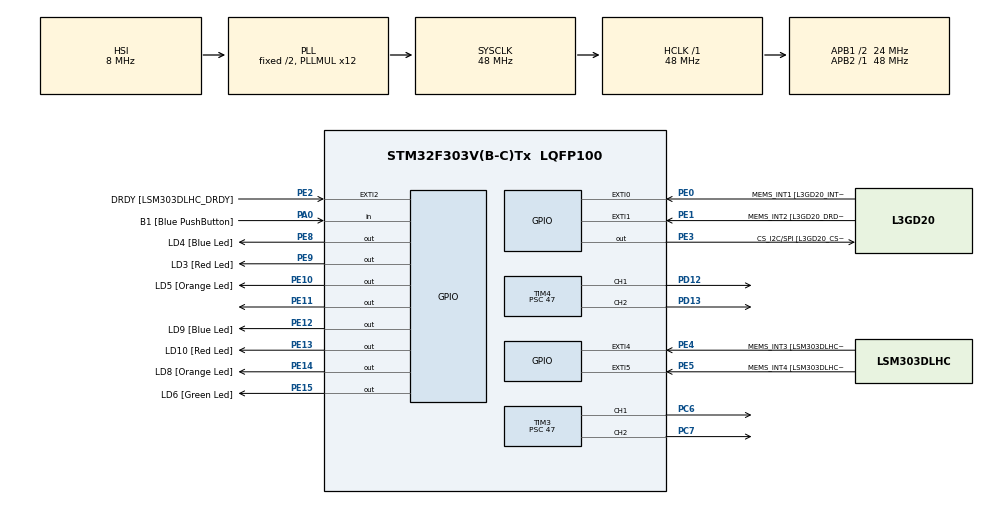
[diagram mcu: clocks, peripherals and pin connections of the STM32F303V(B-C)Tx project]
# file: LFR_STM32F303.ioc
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Mcu.Family=STM32F3
PE12.GPIO_ModeDefaultOutputPP=GPIO_MODE_OUTPUT_PP
VP_SYS_VS_tim6.Mode=TIM6
PE14.GPIO_Speed=GPIO_SPEED_FREQ_LOW
RCC.CortexFreq_Value=48000000
PB6.GPIO_Mode=GPIO_MODE_AF_OD
NVIC.TIM6_DAC_IRQn=true\:0\:0\:false\:false\:true\:false\:true
PA14.GPIO_Label=SWCLK
PE8.GPIO_PuPd=GPIO_NOPULL
RCC.SYSCLKSourceVirtual=RCC_SYSCLKSOURCE_PLLCLK
PB7.GPIO_FM7=__NULL
PA7.GPIO_Mode=GPIO_MODE_AF_PP
PA0.GPIO_Label=B1 [Blue PushButton]
PE9.GPIO_Speed=GPIO_SPEED_FREQ_LOW
PE10.GPIO_PuPd=GPIO_NOPULL
PA6.GPIO_Label=SPI1_MISO [L3GD20_SA0/SDO]
PB6.GPIO_Label=I2C1_SCL [LSM303DLHC_SCL]
PC15-OSC32_OUT.GPIO_Label=OSC32_OUT
ProjectManager.StackSize=0x400
PA6.GPIO_Mode=GPIO_MODE_AF_PP
PD13.Signal=S_TIM4_CH2
PB7.GPIO_Mode=GPIO_MODE_AF_OD
PA12.Signal=USB_DP
PE5.GPIO_PuPd=GPIO_NOPULL
RCC.HCLKFreq_Value=48000000
RCC.APB2TimFreq_Value=48000000
TIM3.Period=999
PB6.Signal=I2C1_SCL
PC7.Signal=S_TIM3_CH2
PE5.Signal=GPXTI5
PE1.Signal=GPXTI1
RCC.AHBFreq_Value=48000000
TIM3.Channel-PWM\ Generation1\ CH1=TIM_CHANNEL_1
RCC.HSE_VALUE=8000000
PF0-OSC_IN.GPIO_Label=OSC_IN
PE13.GPIO_PuPd=GPIO_NOPULL
RCC.PLLMUL=RCC_PLL_MUL12
PA6.GPIO_PuPd=GPIO_NOPULL
PE13.Signal=GPIO_Output
PE9.Signal=GPIO_Output
TIM3.Prescaler=47
PA5.GPIO_PuPd=GPIO_NOPULL
PE4.GPIO_Label=MEMS_INT3 [LSM303DLHC_INT1]
PE10.GPIO_ModeDefaultOutputPP=GPIO_MODE_OUTPUT_PP
SH.S_TIM4_CH2.0=TIM4_CH2,PWM Generation2 CH2
PE2.Signal=GPXTI2
PB7.Signal=I2C1_SDA
SH.S_TIM3_CH1.0=TIM3_CH1,PWM Generation1 CH1
TIM4.Period=999
PE10.GPIO_Speed=GPIO_SPEED_FREQ_LOW
PE10.Signal=GPIO_Output
PE4.Signal=GPXTI4
VP_TIM1_VS_ClockSourceINT.Mode=Internal
PA0.Signal=GPIO_Input
PB7.GPIO_Label=I2C1_SDA [LSM303DLHC_SDA]
Mcu.Package=LQFP100
PA6.Signal=SPI1_MISO
NVIC.TimeBase=TIM6_DAC_IRQn
PD12.Signal=S_TIM4_CH1
PB6.GPIO_FM6=__NULL
PA0.GPIO_PuPd=GPIO_NOPULL
NVIC.TimeBaseIP=TIM6
PE12.GPIO_Label=LD9 [Blue Led]
PE12.GPIO_Speed=GPIO_SPEED_FREQ_LOW
PE0.GPIO_Label=MEMS_INT1 [L3GD20_INT1]
PE8.GPIO_Speed=GPIO_SPEED_FREQ_LOW
SH.S_TIM4_CH1.0=TIM4_CH1,PWM Generation1 CH1
RCC.APB1TimFreq_Value=48000000
PE8.GPIO_ModeDefaultOutputPP=GPIO_MODE_OUTPUT_PP
PC14-OSC32_IN.GPIO_Label=OSC32_IN
PA6.GPIO_Speed=GPIO_SPEED_FREQ_LOW
PE10.GPIO_Label=LD5 [Orange Led]
PE2.GPIO_Label=DRDY [LSM303DLHC_DRDY]
PF1-OSC_OUT.Signal=RCC_OSC_OUT
PE12.GPIO_PuPd=GPIO_NOPULL
PB7.GPIO_Speed=GPIO_SPEED_FREQ_LOW
PE14.GPIO_ModeDefaultOutputPP=GPIO_MODE_OUTPUT_PP
PB3.GPIO_Label=SWO
PE0.GPIO_PuPd=GPIO_NOPULL
PB7.GPIO_PuPd=GPIO_NOPULL
TIM4.Channel-PWM\ Generation1\ CH1=TIM_CHANNEL_1
PB6.GPIO_PuPd=GPIO_NOPULL
PC6.Signal=S_TIM3_CH1
PE4.GPIO_ModeDefaultEXTI=GPIO_MODE_EVT_RISING
PA0.GPIO_Mode=GPIO_MODE_INPUT
PA11.GPIO_Label=DM
PE14.GPIO_Label=LD8 [Orange Led]
PE1.GPIO_PuPd=GPIO_NOPULL
PE1.GPIO_ModeDefaultEXTI=GPIO_MODE_EVT_RISING
RCC.APB1CLKDivider=RCC_HCLK_DIV2
PC14-OSC32_IN.Signal=RCC_OSC32_IN
PA12.GPIO_Label=DP
PA13.Signal=SYS_JTMS-SWDIO
PE15.GPIO_Label=LD6 [Green Led]
ProjectManager.TargetToolchain=STM32CubeIDE
PE5.GPIO_ModeDefaultEXTI=GPIO_MODE_EVT_RISING
PE8.GPIO_Label=LD4 [Blue Led]
PE0.GPIO_ModeDefaultEXTI=GPIO_MODE_EVT_RISING
RCC.USBFreq_Value=48000000
TIM4.Prescaler=47
PE11.Signal=GPIO_Output
RCC.LSE_VALUE=32768
PC15-OSC32_OUT.Signal=RCC_OSC32_OUT
PE9.GPIO_Label=LD3 [Red Led]
PA7.GPIO_PuPd=GPIO_NOPULL
PE2.GPIO_PuPd=GPIO_NOPULL
PA5.Signal=SPI1_SCK
SH.S_TIM3_CH2.0=TIM3_CH2,PWM Generation2 CH2
board=STM32F3DISCOVERY
PE1.GPIO_Label=MEMS_INT2 [L3GD20_DRDY/INT2]
PA7.GPIO_Speed=GPIO_SPEED_FREQ_LOW
TIM4.Channel-PWM\ Generation2\ CH2=TIM_CHANNEL_2
RCC.APB2Freq_Value=48000000
PE14.Signal=GPIO_Output
PE15.Signal=GPIO_Output
PE8.Signal=GPIO_Output
PF1-OSC_OUT.GPIO_Label=OSC_OUT
PE3.GPIO_PuPd=GPIO_NOPULL
PE14.GPIO_PuPd=GPIO_NOPULL
Mcu.Name=STM32F303V(B-C)Tx
PE0.Signal=GPXTI0
PE12.Signal=GPIO_Output
PA13.GPIO_Label=SWDIO
PE4.GPIO_PuPd=GPIO_NOPULL
PB3.Signal=SYS_JTDO-TRACESWO
RCC.SYSCLKFreq_VALUE=48000000
PA7.GPIO_Label=SPI1_MISO [L3GD20_SDA/SDI/SDO]
PE13.GPIO_Label=LD10 [Red Led]
PA5.GPIO_Label=SPI1_SCK [L3GD20_SCL/SPC]
PE3.GPIO_Speed=GPIO_SPEED_FREQ_LOW
PE3.GPIO_ModeDefaultOutputPP=GPIO_MODE_OUTPUT_PP
PE13.GPIO_ModeDefaultOutputPP=GPIO_MODE_OUTPUT_PP
PE5.GPIO_Label=MEMS_INT4 [LSM303DLHC_INT2]
PA11.Signal=USB_DM
PA14.Signal=SYS_JTCK-SWCLK
PE15.GPIO_PuPd=GPIO_NOPULL
ProjectManager.HeapSize=0x200
RCC.HSI_VALUE=8000000
PA5.GPIO_Speed=GPIO_SPEED_FREQ_LOW
NVIC.PriorityGroup=NVIC_PRIORITYGROUP_4
TIM3.Channel-PWM\ Generation2\ CH2=TIM_CHANNEL_2
PE15.GPIO_Speed=GPIO_SPEED_FREQ_LOW
PE13.GPIO_Speed=GPIO_SPEED_FREQ_LOW
PE3.Signal=GPIO_Output
PE3.GPIO_Label=CS_I2C/SPI [L3GD20_CS_I2C/SPI]
PE2.GPIO_ModeDefaultEXTI=GPIO_MODE_EVT_RISING
PE9.GPIO_ModeDefaultOutputPP=GPIO_MODE_OUTPUT_PP
PF0-OSC_IN.Signal=RCC_OSC_IN
PB6.GPIO_Speed=GPIO_SPEED_FREQ_LOW
RCC.APB1Freq_Value=24000000
PA5.GPIO_Mode=GPIO_MODE_AF_PP
PE15.GPIO_ModeDefaultOutputPP=GPIO_MODE_OUTPUT_PP
PA7.Signal=SPI1_MOSI
PE9.GPIO_PuPd=GPIO_NOPULL

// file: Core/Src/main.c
/* USER CODE BEGIN Header */
/**
  ******************************************************************************
  * @file           : main.c
  * @brief          : Main program body
  ******************************************************************************
  * @attention
  *
  * <h2><center>&copy; Copyright (c) 2021 STMicroelectronics.
  * All rights reserved.</center></h2>
  *
  * This software component is licensed by ST under BSD 3-Clause license,
  * the "License"; You may not use this file except in compliance with the
  * License. You may obtain a copy of the License at:
  *                        opensource.org/licenses/BSD-3-Clause
  *
  ******************************************************************************
  */
/* USER CODE END Header */
#include "main.h"

/* USER CODE BEGIN Includes */
#include <stdio.h>
#include <math.h>
#include "FreeRTOS.h"
#include "task.h"
/* USER CODE END Includes */

/* USER CODE BEGIN PM */
#define DWT_CTRL		(*(volatile uint32_t*)0xE0001000)
/* USER CODE END PM */

TIM_HandleTypeDef htim1;
TIM_HandleTypeDef htim3;
TIM_HandleTypeDef htim4;

/* USER CODE BEGIN PV */

/*
 * P:							Proportional controller
 * I:							Integral controller
 * D:							Differnetial controller
 * Kp:							Coefficient for P controller
 * Ki:							Coefficient for I controller
 * Kd:							Coefficient for D controller
 * Kl:							Coefficient for left motor
 * Kr:							Coefficient for right motor
 * eroor:						Error from the IR sensors
 * prev_error:					Previous error
 * right_motor_base_speed:		Base speed for right motor when error is 0
 * left_motor_base_speed:		Base speed for left motor when error is 0*/

float Kp = 0.5;//random untested value assigned
float Ki = 0.5;//random untested value assigned
float Kd = 0.5;//random untested value assigned
float Kl = -1;//random untested value assigned
float Kr = 1;//random untested value assigned
float left_motor_base_speed = MAX_PWM_VAL/1.5, right_motor_base_speed = MAX_PWM_VAL/1.5;//random untested value assigned
int P, I, D, error, prev_error = 0;
/* USER CODE END PV */

void SystemClock_Config(void);
static void MX_GPIO_Init(void);
static void MX_TIM1_Init(void);
static void MX_TIM3_Init(void);
static void MX_TIM4_Init(void);
/* USER CODE BEGIN PFP */
static void svIRSensorReadTask(void* parameters); // The task that reads IR sensors
uint8_t ucReadAllIRSensors(); // svIRSensorReadTask will call this func to get the values of every IR sensors
int iExponentialWeightedError(uint8_t sensor_data, int weight); // weights are higher from the center
int iEqualWeightedError(uint8_t sensor_data, int weight); // all weights are equal

static void svMotorRunTask(void* parameters);
void vRunMotor(int left_speed, int right_speed);

int iPID();
/* USER CODE END PFP */

int main(void)
{
  /* USER CODE BEGIN 1 */
  TaskHandle_t IR_sensor_task_handle, motor_run_task_handle;

  BaseType_t status;
  /* USER CODE END 1 */

  /* MCU Configuration--------------------------------------------------------*/

  /* Reset of all peripherals, Initializes the Flash interface and the Systick. */
  HAL_Init();

  /* Configure the system clock */
  SystemClock_Config();

  /* Initialize all configured peripherals */
  MX_GPIO_Init();
  MX_TIM1_Init();
  MX_TIM3_Init();
  MX_TIM4_Init();
  /* USER CODE BEGIN 2 */
  DWT_CTRL |= (1 << 0);

//  SEGGER_SYSVIEW_Conf();
//
//  SEGGER_SYSVIEW_Start();
  HAL_TIM_PWM_Start(&htim1, TIM_CHANNEL_2); // Starting PWM

  status = xTaskCreate(svIRSensorReadTask, "IR_Sensor_Reading_Task", 200, NULL, 4, &IR_sensor_task_handle);

  configASSERT(status == pdPASS);

  status = xTaskCreate(svMotorRunTask, "Motor_Run_Task", 400, NULL, 4, &motor_run_task_handle);

  configASSERT(status == pdPASS);

  vTaskStartScheduler();
  /* USER CODE END 2 */

  /* Infinite loop */
  while (1)
  {

  }
}

void SystemClock_Config(void)
{
  RCC_OscInitTypeDef RCC_OscInitStruct = {0};
  RCC_ClkInitTypeDef RCC_ClkInitStruct = {0};
  RCC_PeriphCLKInitTypeDef PeriphClkInit = {0};

  /** Initializes the RCC Oscillators according to the specified parameters
  * in the RCC_OscInitTypeDef structure.
  */
  RCC_OscInitStruct.OscillatorType = RCC_OSCILLATORTYPE_HSI;
  RCC_OscInitStruct.HSIState = RCC_HSI_ON;
  RCC_OscInitStruct.HSICalibrationValue = RCC_HSICALIBRATION_DEFAULT;
  RCC_OscInitStruct.PLL.PLLState = RCC_PLL_ON;
  RCC_OscInitStruct.PLL.PLLSource = RCC_PLLSOURCE_HSI;
  RCC_OscInitStruct.PLL.PLLMUL = RCC_PLL_MUL12;
  if (HAL_RCC_OscConfig(&RCC_OscInitStruct) != HAL_OK)
  {
    Error_Handler();
  }
  /** Initializes the CPU, AHB and APB buses clocks
  */
  RCC_ClkInitStruct.ClockType = RCC_CLOCKTYPE_HCLK|RCC_CLOCKTYPE_SYSCLK
                              |RCC_CLOCKTYPE_PCLK1|RCC_CLOCKTYPE_PCLK2;
  RCC_ClkInitStruct.SYSCLKSource = RCC_SYSCLKSOURCE_PLLCLK;
  RCC_ClkInitStruct.AHBCLKDivider = RCC_SYSCLK_DIV1;
  RCC_ClkInitStruct.APB1CLKDivider = RCC_HCLK_DIV2;
  RCC_ClkInitStruct.APB2CLKDivider = RCC_HCLK_DIV1;

  if (HAL_RCC_ClockConfig(&RCC_ClkInitStruct, FLASH_LATENCY_1) != HAL_OK)
  {
    Error_Handler();
  }
  PeriphClkInit.PeriphClockSelection = RCC_PERIPHCLK_TIM1;
  PeriphClkInit.Tim1ClockSelection = RCC_TIM1CLK_HCLK;
  if (HAL_RCCEx_PeriphCLKConfig(&PeriphClkInit) != HAL_OK)
  {
    Error_Handler();
  }
}

static void MX_TIM1_Init(void)
{

  TIM_ClockConfigTypeDef sClockSourceConfig = {0};
  TIM_MasterConfigTypeDef sMasterConfig = {0};

  htim1.Instance = TIM1;
  htim1.Init.Prescaler = 0;
  htim1.Init.CounterMode = TIM_COUNTERMODE_UP;
  htim1.Init.Period = 65535;
  htim1.Init.ClockDivision = TIM_CLOCKDIVISION_DIV1;
  htim1.Init.RepetitionCounter = 0;
  htim1.Init.AutoReloadPreload = TIM_AUTORELOAD_PRELOAD_DISABLE;
  if (HAL_TIM_Base_Init(&htim1) != HAL_OK)
  {
    Error_Handler();
  }
  sClockSourceConfig.ClockSource = TIM_CLOCKSOURCE_INTERNAL;
  if (HAL_TIM_ConfigClockSource(&htim1, &sClockSourceConfig) != HAL_OK)
  {
    Error_Handler();
  }
  sMasterConfig.MasterOutputTrigger = TIM_TRGO_RESET;
  sMasterConfig.MasterOutputTrigger2 = TIM_TRGO2_RESET;
  sMasterConfig.MasterSlaveMode = TIM_MASTERSLAVEMODE_DISABLE;
  if (HAL_TIMEx_MasterConfigSynchronization(&htim1, &sMasterConfig) != HAL_OK)
  {
    Error_Handler();
  }

}

static void MX_TIM3_Init(void)
{

  TIM_MasterConfigTypeDef sMasterConfig = {0};
  TIM_OC_InitTypeDef sConfigOC = {0};

  htim3.Instance = TIM3;
  htim3.Init.Prescaler = 47;
  htim3.Init.CounterMode = TIM_COUNTERMODE_UP;
  htim3.Init.Period = 999;
  htim3.Init.ClockDivision = TIM_CLOCKDIVISION_DIV1;
  htim3.Init.AutoReloadPreload = TIM_AUTORELOAD_PRELOAD_DISABLE;
  if (HAL_TIM_PWM_Init(&htim3) != HAL_OK)
  {
    Error_Handler();
  }
  sMasterConfig.MasterOutputTrigger = TIM_TRGO_RESET;
  sMasterConfig.MasterSlaveMode = TIM_MASTERSLAVEMODE_DISABLE;
  if (HAL_TIMEx_MasterConfigSynchronization(&htim3, &sMasterConfig) != HAL_OK)
  {
    Error_Handler();
  }
  sConfigOC.OCMode = TIM_OCMODE_PWM1;
  sConfigOC.Pulse = 0;
  sConfigOC.OCPolarity = TIM_OCPOLARITY_HIGH;
  sConfigOC.OCFastMode = TIM_OCFAST_DISABLE;
  if (HAL_TIM_PWM_ConfigChannel(&htim3, &sConfigOC, TIM_CHANNEL_1) != HAL_OK)
  {
    Error_Handler();
  }
  if (HAL_TIM_PWM_ConfigChannel(&htim3, &sConfigOC, TIM_CHANNEL_2) != HAL_OK)
  {
    Error_Handler();
  }
  HAL_TIM_MspPostInit(&htim3);

}

static void MX_TIM4_Init(void)
{

  TIM_MasterConfigTypeDef sMasterConfig = {0};
  TIM_OC_InitTypeDef sConfigOC = {0};

  htim4.Instance = TIM4;
  htim4.Init.Prescaler = 47;
  htim4.Init.CounterMode = TIM_COUNTERMODE_UP;
  htim4.Init.Period = 999;
  htim4.Init.ClockDivision = TIM_CLOCKDIVISION_DIV1;
  htim4.Init.AutoReloadPreload = TIM_AUTORELOAD_PRELOAD_DISABLE;
  if (HAL_TIM_PWM_Init(&htim4) != HAL_OK)
  {
    Error_Handler();
  }
  sMasterConfig.MasterOutputTrigger = TIM_TRGO_RESET;
  sMasterConfig.MasterSlaveMode = TIM_MASTERSLAVEMODE_DISABLE;
  if (HAL_TIMEx_MasterConfigSynchronization(&htim4, &sMasterConfig) != HAL_OK)
  {
    Error_Handler();
  }
  sConfigOC.OCMode = TIM_OCMODE_PWM1;
  sConfigOC.Pulse = 0;
  sConfigOC.OCPolarity = TIM_OCPOLARITY_HIGH;
  sConfigOC.OCFastMode = TIM_OCFAST_DISABLE;
  if (HAL_TIM_PWM_ConfigChannel(&htim4, &sConfigOC, TIM_CHANNEL_1) != HAL_OK)
  {
    Error_Handler();
  }
  if (HAL_TIM_PWM_ConfigChannel(&htim4, &sConfigOC, TIM_CHANNEL_2) != HAL_OK)
  {
    Error_Handler();
  }
  HAL_TIM_MspPostInit(&htim4);

}

static void MX_GPIO_Init(void)
{
  GPIO_InitTypeDef GPIO_InitStruct = {0};

  /* GPIO Ports Clock Enable */
  __HAL_RCC_GPIOE_CLK_ENABLE();
  __HAL_RCC_GPIOC_CLK_ENABLE();
  __HAL_RCC_GPIOF_CLK_ENABLE();
  __HAL_RCC_GPIOA_CLK_ENABLE();
  __HAL_RCC_GPIOD_CLK_ENABLE();
  __HAL_RCC_GPIOB_CLK_ENABLE();

  /*Configure GPIO pin Output Level */
  HAL_GPIO_WritePin(GPIOE, CS_I2C_SPI_Pin|LD4_Pin|LD3_Pin|LD5_Pin
                          |GPIO_PIN_11|LD9_Pin|LD10_Pin|LD8_Pin
                          |LD6_Pin, GPIO_PIN_RESET);

  /*Configure GPIO pins : DRDY_Pin MEMS_INT3_Pin MEMS_INT4_Pin MEMS_INT1_Pin
                           MEMS_INT2_Pin */
  GPIO_InitStruct.Pin = DRDY_Pin|MEMS_INT3_Pin|MEMS_INT4_Pin|MEMS_INT1_Pin
                          |MEMS_INT2_Pin;
  GPIO_InitStruct.Mode = GPIO_MODE_EVT_RISING;
  GPIO_InitStruct.Pull = GPIO_NOPULL;
  HAL_GPIO_Init(GPIOE, &GPIO_InitStruct);

  /*Configure GPIO pins : CS_I2C_SPI_Pin LD4_Pin LD3_Pin LD5_Pin
                           PE11 LD9_Pin LD10_Pin LD8_Pin
                           LD6_Pin */
  GPIO_InitStruct.Pin = CS_I2C_SPI_Pin|LD4_Pin|LD3_Pin|LD5_Pin
                          |GPIO_PIN_11|LD9_Pin|LD10_Pin|LD8_Pin
                          |LD6_Pin;
  GPIO_InitStruct.Mode = GPIO_MODE_OUTPUT_PP;
  GPIO_InitStruct.Pull = GPIO_NOPULL;
  GPIO_InitStruct.Speed = GPIO_SPEED_FREQ_LOW;
  HAL_GPIO_Init(GPIOE, &GPIO_InitStruct);

  /*Configure GPIO pin : B1_Pin */
  GPIO_InitStruct.Pin = B1_Pin;
  GPIO_InitStruct.Mode = GPIO_MODE_INPUT;
  GPIO_InitStruct.Pull = GPIO_NOPULL;
  HAL_GPIO_Init(B1_GPIO_Port, &GPIO_InitStruct);

  /*Configure GPIO pins : SPI1_SCK_Pin SPI1_MISO_Pin SPI1_MISOA7_Pin */
  GPIO_InitStruct.Pin = SPI1_SCK_Pin|SPI1_MISO_Pin|SPI1_MISOA7_Pin;
  GPIO_InitStruct.Mode = GPIO_MODE_AF_PP;
  GPIO_InitStruct.Pull = GPIO_NOPULL;
  GPIO_InitStruct.Speed = GPIO_SPEED_FREQ_LOW;
  GPIO_InitStruct.Alternate = GPIO_AF5_SPI1;
  HAL_GPIO_Init(GPIOA, &GPIO_InitStruct);

  /*Configure GPIO pins : DM_Pin DP_Pin */
  GPIO_InitStruct.Pin = DM_Pin|DP_Pin;
  GPIO_InitStruct.Mode = GPIO_MODE_AF_PP;
  GPIO_InitStruct.Pull = GPIO_NOPULL;
  GPIO_InitStruct.Speed = GPIO_SPEED_FREQ_HIGH;
  GPIO_InitStruct.Alternate = GPIO_AF14_USB;
  HAL_GPIO_Init(GPIOA, &GPIO_InitStruct);

  /*Configure GPIO pins : I2C1_SCL_Pin I2C1_SDA_Pin */
  GPIO_InitStruct.Pin = I2C1_SCL_Pin|I2C1_SDA_Pin;
  GPIO_InitStruct.Mode = GPIO_MODE_AF_OD;
  GPIO_InitStruct.Pull = GPIO_PULLUP;
  GPIO_InitStruct.Speed = GPIO_SPEED_FREQ_LOW;
  GPIO_InitStruct.Alternate = GPIO_AF4_I2C1;
  HAL_GPIO_Init(GPIOB, &GPIO_InitStruct);

}

/* USER CODE BEGIN 4 */
static void svIRSensorReadTask(void* parameters)
{
	while(1)
	{
		uint8_t sensor_data = ucReadAllIRSensors();
		error = iExponentialWeightedError(sensor_data, 2);
		taskYIELD();
	}
}

uint8_t ucReadAllIRSensors()
{
	uint8_t sensor_vals = 0;

	for(int i = 0; i < TOTAL_IR_SENSORS; i++)
	{
		HAL_GPIO_WritePin(S0_PORT, S0, i & (1 << 0));
		HAL_GPIO_WritePin(S1_PORT, S1, i & (1 << 1));
		HAL_GPIO_WritePin(S2_PORT, S2, i & (1 << 2));

		sensor_vals |= HAL_GPIO_ReadPin(IR_CHANNEL_PORT, IR_CHANNEL) << i;
	}

	return sensor_vals;
}

/*
 * @brief	Calculate Weighted error from sensor data where
 * 			errors are exponentially increasing from the center
 *
 *
 * */
int iExponentialWeightedError(uint8_t sensor_data, int weight)
{
	int error = 0;

	for(int i = 1; i <= TOTAL_IR_SENSORS/2; i++)
	{
		error += ((sensor_data & (1 << (TOTAL_IR_SENSORS/2 - i))) >> (TOTAL_IR_SENSORS/2 - i)) * pow(weight, i);
	}

	for(int i = 0; i < TOTAL_IR_SENSORS/2; i++)
	{
 		error += ((sensor_data & (1 << (TOTAL_IR_SENSORS/2 + i))) >> (TOTAL_IR_SENSORS/2 + i)) * -1* pow(weight, i + 1);
	}

	return error;
}

/*
 * @brief	Calculate Weighted error from sensor data where
 * 			errors are exponentially increasing from the center
 *
 *
 * */
int iEqualWeightedError(uint8_t sensor_data, int weight)
{
	int error = 0;

	for(int i = 1; i <= TOTAL_IR_SENSORS/2; i++)
	{
		error += ((sensor_data & (1 << (TOTAL_IR_SENSORS/2 - i))) >> (TOTAL_IR_SENSORS/2 - i)) * weight;
	}

	for(int i = 0; i < TOTAL_IR_SENSORS/2; i++)
	{
		error += ((sensor_data & (1 << (TOTAL_IR_SENSORS/2 + i))) >> (TOTAL_IR_SENSORS/2 + i)) * -1* weight;
	}

	return error;
}

static void svMotorRunTask(void* parameters)
{
	while(1)
	{
		int pid_val = iPID();
		int left_motor_speed = Kl*pid_val + left_motor_base_speed;
		int right_motor_speed = Kr*pid_val + right_motor_base_speed;

		vRunMotor(left_motor_speed, right_motor_speed);
		taskYIELD();
	}
}

void vRunMotor(int left_speed, int right_speed)
{
	assert(left_speed <= MAX_PWM_VAL && left_speed >= -1*MAX_PWM_VAL);
	assert(right_speed < MAX_PWM_VAL && right_speed >= -1*MAX_PWM_VAL);

	if(left_speed < 0)//roate backwards
	{
		__HAL_TIM_SetCompare(LEFT_MOTOR_TIM, LEFT_MOTOR_PIN_1_CH, abs(left_speed));
		__HAL_TIM_SetCompare(LEFT_MOTOR_TIM, LEFT_MOTOR_PIN_2_CH, 0);
	}
	else
	{
		__HAL_TIM_SetCompare(LEFT_MOTOR_TIM, LEFT_MOTOR_PIN_2_CH, left_speed);
		__HAL_TIM_SetCompare(LEFT_MOTOR_TIM, LEFT_MOTOR_PIN_1_CH, 0);
	}

	if(right_speed < 0)//roate backwards
	{
		__HAL_TIM_SetCompare(RIGHT_MOTOR_TIM, RIGHT_MOTOR_PIN_1_CH, abs(right_speed));
		__HAL_TIM_SetCompare(RIGHT_MOTOR_TIM, RIGHT_MOTOR_PIN_2_CH, 0);
	}
	else
	{
		__HAL_TIM_SetCompare(RIGHT_MOTOR_TIM, RIGHT_MOTOR_PIN_2_CH, right_speed);
		__HAL_TIM_SetCompare(RIGHT_MOTOR_TIM, RIGHT_MOTOR_PIN_1_CH, 0);
	}

}

int iPID()
{
	P = error;
	I += error;
	D = error - prev_error;
	prev_error = error;

	return Kp*P + Ki*I + Kd*D;
}
/* USER CODE END 4 */

 /**
  * @brief  Period elapsed callback in non blocking mode
  * @note   This function is called  when TIM6 interrupt took place, inside
  * HAL_TIM_IRQHandler(). It makes a direct call to HAL_IncTick() to increment
  * a global variable "uwTick" used as application time base.
  * @param  htim : TIM handle
  * @retval None
  */
void HAL_TIM_PeriodElapsedCallback(TIM_HandleTypeDef *htim)
{
  if (htim->Instance == TIM6) {
    HAL_IncTick();
  }
}

void Error_Handler(void)
{
  __disable_irq();
  while (1)
  {
  }
}

/************************ (C) COPYRIGHT STMicroelectronics *****END OF FILE****/
